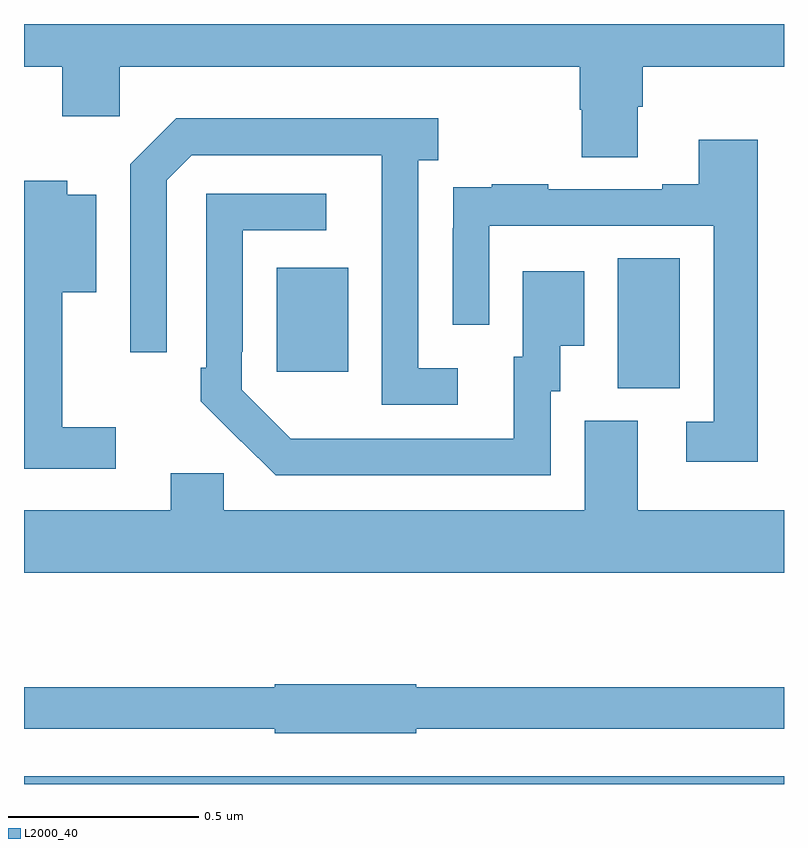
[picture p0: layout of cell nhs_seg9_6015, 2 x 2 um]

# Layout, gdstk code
import gdstk
lib = gdstk.Library(unit=1e-6, precision=1e-09)
def R(c, l, rs):  # rectangles x0, y0, x1, y1
    for r in rs: c.add(gdstk.rectangle(r[:2], r[2:], *l))
def P(c, l, *ps):  # polygons
    for p in ps: c.add(gdstk.Polygon(p, *l))
L2000_40 = (2000, 40)

nhs_seg9_6015 = lib.new_cell('nhs_seg9_6015')
R(nhs_seg9_6015, L2000_40, [(186,1226.5,188,1226.52), (187.562,1227.541,187.726,1227.884), (186.665,1227.585,186.853,1227.859)])
P(nhs_seg9_6015, L2000_40, [(186,1228.388),(186.101,1228.388),(186.101,1228.257),(186.252,1228.257),(186.252,1228.388),(187.463,1228.388),(187.463,1228.275),(187.468,1228.275),(187.468,1228.15),(187.615,1228.15),(187.615,1228.282),(187.628,1228.282),(187.628,1228.388),(188,1228.388),(188,1228.5),(186,1228.5)],
  [(187.141,1227.594),(187.038,1227.594),(187.038,1228.142),(187.09,1228.142),(187.09,1228.252),(186.4,1228.252),(186.279,1228.131),(186.279,1227.636),(186.375,1227.636),(186.375,1228.089),(186.441,1228.155),(186.941,1228.155),(186.941,1227.955),(186.942,1227.955),(186.942,1227.498),(187.141,1227.498)],
  [(187.931,1228.195),(187.775,1228.195),(187.775,1228.078),(187.679,1228.078),(187.679,1228.065),(187.379,1228.065),(187.379,1228.078),(187.231,1228.078),(187.231,1228.071),(187.129,1228.071),(187.129,1227.962),(187.128,1227.962),(187.128,1227.708),(187.224,1227.708),(187.224,1227.969),(187.815,1227.969),(187.815,1227.453),(187.743,1227.453),(187.743,1227.348),(187.931,1227.348)],
  [(186.241,1227.439),(186.101,1227.439),(186.101,1227.794),(186.19,1227.794),(186.19,1228.051),(186.114,1228.051),(186.114,1228.087),(186,1228.087),(186,1227.33),(186.241,1227.33)],
  [(187.386,1227.534),(187.411,1227.534),(187.411,1227.653),(187.474,1227.653),(187.474,1227.85),(187.313,1227.85),(187.313,1227.624),(187.289,1227.624),(187.289,1227.408),(186.805,1227.408),(186.805,1227.409),(186.702,1227.409),(186.573,1227.537),(186.573,1227.637),(186.576,1227.637),(186.576,1227.957),(186.796,1227.957),(186.796,1228.053),(186.48,1228.053),(186.48,1227.595),(186.465,1227.595),(186.465,1227.507),(186.57,1227.402),(186.571,1227.403),(186.662,1227.312),(187.386,1227.312)],
  [(188,1227.22),(187.615,1227.22),(187.615,1227.456),(187.475,1227.456),(187.475,1227.22),(186.525,1227.22),(186.525,1227.318),(186.386,1227.318),(186.386,1227.22),(186,1227.22),(186,1227.056),(188,1227.056)],
  [(187.032,1226.646),(188,1226.646),(188,1226.755),(187.032,1226.755),(187.032,1226.763),(186.66,1226.763),(186.66,1226.755),(186,1226.755),(186,1226.646),(186.66,1226.646),(186.66,1226.633),(187.032,1226.633)])

lib.write_gds('nhs_seg9_6015.gds')
